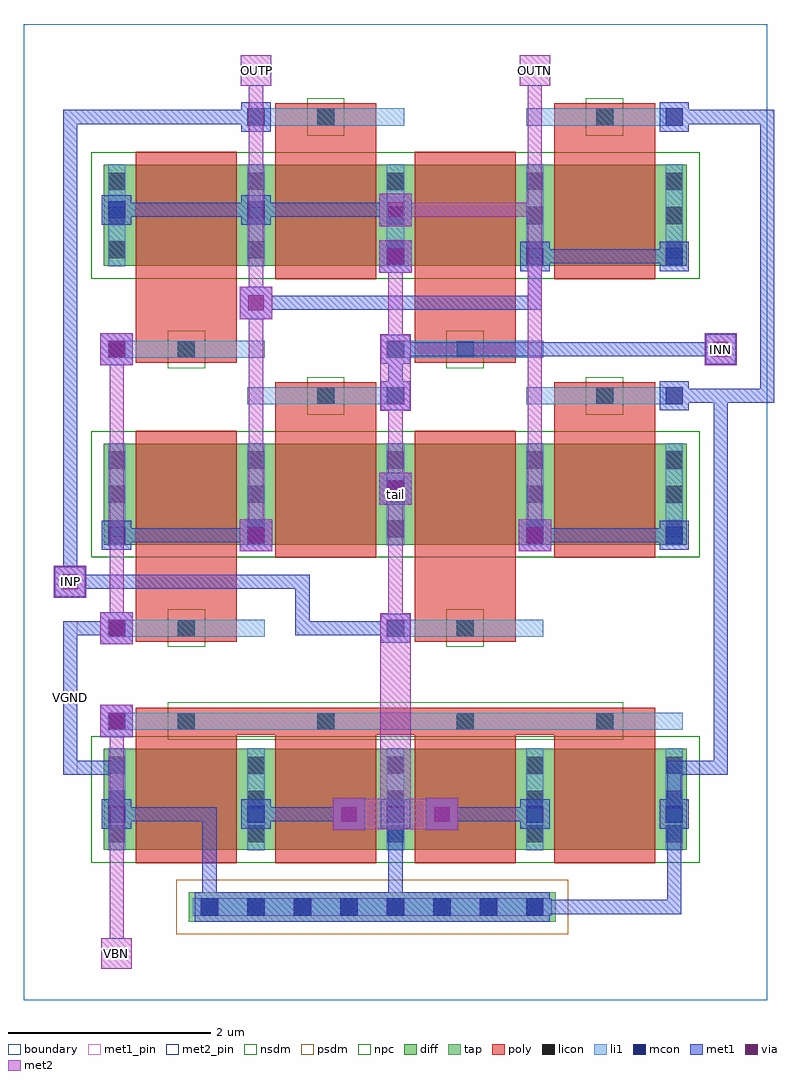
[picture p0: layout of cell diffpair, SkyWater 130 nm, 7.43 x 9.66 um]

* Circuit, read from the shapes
.subckt diffpair INN INP OUTN OUTP VBN VGND tail
XM1 tail VBN VGND VGND sky130_fd_pr__nfet_01v8 w=1 l=1 m=4
XM2 OUTP VGND OUTP VGND sky130_fd_pr__nfet_01v8 w=1 l=1 m=2
XM3 OUTN VGND OUTN VGND sky130_fd_pr__nfet_01v8 w=1 l=1 m=2
XM4 tail INN OUTP VGND sky130_fd_pr__nfet_01v8 w=1 l=1 m=2
XM5 tail INP OUTN VGND sky130_fd_pr__nfet_01v8 w=1 l=1 m=2
.ends

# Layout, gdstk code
import gdstk
lib = gdstk.Library(unit=1e-6, precision=1e-09)
def R(c, l, rs):  # rectangles x0, y0, x1, y1
    for r in rs: c.add(gdstk.rectangle(r[:2], r[2:], *l))
def A(c, l, x, y, w, h, nx, ny, dx, dy):  # array of equal rectangles
    R(c, l, [(x+i*dx, y+j*dy, x+i*dx+w, y+j*dy+h) for i in range(nx) for j in range(ny)])
diff = (65, 20)
tap = (65, 44)
poly = (66, 20)
licon = (66, 44)
li1 = (67, 20)
mcon = (67, 44)
met1_pin = (68, 16)
met1 = (68, 20)
via = (68, 44)
met2_pin = (69, 16)
met2 = (69, 20)
nsdm = (93, 44)
psdm = (94, 20)
npc = (95, 20)
boundary = (235, 4)

diffpair = lib.new_cell('diffpair')
R(diffpair, diff, [(0.795,1.485,6.565,2.485), (0.795,4.505,6.565,5.505), (0.795,7.265,6.565,8.265)])
R(diffpair, tap, [(1.635,0.775,5.265,1.065)])
A(diffpair, poly, 1.11, 1.355, 1, 1.405, 4, 1, 1.38, 0)
R(diffpair, poly, [(1.11,2.625,6.25,2.895), (1.11,3.545,2.11,3.815), (3.87,3.545,4.87,3.815), (1.11,3.68,2.11,5.635), (3.87,3.68,4.87,5.635), (2.49,4.375,3.49,5.98), (5.25,4.375,6.25,5.98), (2.49,5.845,3.49,6.115), (5.25,5.845,6.25,6.115), (1.11,6.305,2.11,6.575), (3.87,6.305,4.87,6.575), (1.11,6.44,2.11,8.395), (3.87,6.44,4.87,8.395), (2.49,7.135,3.49,8.74), (5.25,7.135,6.25,8.74), (2.49,8.605,3.49,8.875), (5.25,8.605,6.25,8.875)])
A(diffpair, licon, 1.755, 0.835, 0.17, 0.17, 8, 1, 0.46, 0)
A(diffpair, licon, 0.835, 1.56, 0.17, 0.17, 5, 3, 1.38, 0.34)
A(diffpair, licon, 1.525, 2.675, 0.17, 0.17, 4, 1, 1.38, 0)
A(diffpair, licon, 0.835, 4.58, 0.17, 0.17, 5, 3, 1.38, 0.34)
A(diffpair, licon, 0.835, 7.34, 0.17, 0.17, 5, 3, 1.38, 0.34)
R(diffpair, licon, [(1.525,3.595,1.695,3.765), (4.285,3.595,4.455,3.765), (2.905,5.895,3.075,6.065), (5.665,5.895,5.835,6.065), (1.525,6.355,1.695,6.525), (4.285,6.355,4.455,6.525), (2.905,8.655,3.075,8.825), (5.665,8.655,5.835,8.825)])
A(diffpair, li1, 0.835, 1.48, 0.17, 1.01, 5, 2, 1.38, 3.02)
A(diffpair, li1, 0.835, 7.26, 0.17, 1.01, 5, 1, 1.38, 0)
R(diffpair, li1, [(1.675,0.835,5.225,1.005), (0.835,2.675,6.525,2.845), (0.835,3.595,2.385,3.765), (3.595,3.595,5.145,3.765), (2.215,5.895,3.765,6.065), (4.975,5.895,6.525,6.065), (0.835,6.355,2.385,6.525), (3.595,6.355,5.145,6.525), (2.215,8.655,3.765,8.825), (4.975,8.655,6.525,8.825)])
A(diffpair, mcon, 1.755, 0.835, 0.17, 0.17, 8, 1, 0.46, 0)
A(diffpair, mcon, 0.835, 1.755, 0.17, 0.17, 5, 1, 1.38, 0)
A(diffpair, mcon, 0.835, 2.675, 0.17, 0.17, 1, 3, 0, 0.92)
A(diffpair, mcon, 3.595, 7.275, 0.17, 0.17, 3, 1, 1.38, 0)
R(diffpair, mcon, [(3.595,3.595,3.765,3.765), (2.215,4.515,2.385,4.685), (4.975,4.515,5.145,4.685), (6.355,4.515,6.525,4.685), (3.595,4.975,3.765,5.145), (3.595,5.895,3.765,6.065), (6.355,5.895,6.525,6.065), (0.835,6.355,1.005,6.525), (3.595,6.355,3.765,6.525), (0.835,7.735,1.005,7.905), (2.215,7.735,2.385,7.905), (2.215,8.655,2.385,8.825), (6.355,8.655,6.525,8.825)])
R(diffpair, met1_pin, [(0.39,2.23,0.53,3.75)])
A(diffpair, met1, 0.775, 1.695, 0.29, 0.29, 5, 1, 1.38, 0)
A(diffpair, met1, 0.775, 2.615, 0.29, 0.29, 1, 3, 0, 0.92)
A(diffpair, met1, 3.535, 7.215, 0.29, 0.29, 3, 1, 1.38, 0)
R(diffpair, met1, [(1.695,0.775,5.205,1.065), (1.77,0.85,3.75,0.99), (1.77,0.85,1.91,0.99), (1.77,0.85,1.91,1.91), (3.61,0.85,6.51,0.99), (3.61,0.85,3.75,1.91), (6.37,0.85,6.51,1.91), (3.06,1.68,3.38,2), (3.98,1.68,4.3,2), (0.85,1.77,1.91,1.91), (0.85,1.77,0.99,2.37), (2.23,1.77,3.29,1.91), (4.07,1.77,5.13,1.91), (6.37,1.77,6.51,2.37), (0.39,2.23,0.99,2.37), (0.39,2.23,0.53,3.75), (6.37,2.23,6.97,2.37), (6.83,2.23,6.97,6.05), (0.76,2.6,1.08,2.92), (0.76,3.52,1.08,3.84), (3.535,3.535,3.825,3.825), (0.39,3.61,0.99,3.75), (2.69,3.61,3.75,3.75), (2.69,3.61,2.83,4.21), (0.3,3.98,0.62,4.3), (0.39,4.07,2.83,4.21), (0.39,4.07,0.53,8.81), (2.14,4.44,2.46,4.76), (4.9,4.44,5.22,4.76), (2.155,4.455,2.445,4.745), (4.915,4.455,5.205,4.745), (6.295,4.455,6.585,4.745), (0.85,4.53,2.37,4.67), (4.99,4.53,6.51,4.67), (3.52,4.9,3.84,5.22), (3.535,4.915,3.825,5.205), (3.535,5.835,3.825,6.125), (6.295,5.835,6.585,6.125), (3.61,5.91,3.75,6.51), (6.37,5.91,6.97,6.05), (6.83,5.91,7.43,6.05), (7.29,5.91,7.43,8.81), (0.76,6.28,1.08,6.6), (6.74,6.28,7.06,6.6), (0.775,6.295,1.065,6.585), (3.535,6.295,3.825,6.585), (3.61,6.37,6.97,6.51), (2.14,6.74,2.46,7.06), (2.23,6.83,5.13,6.97), (4.99,6.83,5.13,7.43), (3.52,7.2,3.84,7.52), (4.99,7.29,6.51,7.43), (3.52,7.66,3.84,7.98), (0.775,7.675,1.065,7.965), (2.155,7.675,2.445,7.965), (0.85,7.75,2.37,7.89), (2.23,7.75,3.75,7.89), (2.155,8.595,2.445,8.885), (6.295,8.595,6.585,8.885), (0.39,8.67,2.37,8.81), (6.37,8.67,7.43,8.81)])
R(diffpair, via, [(3.145,1.765,3.295,1.915), (4.065,1.765,4.215,1.915), (0.845,2.685,0.995,2.835), (0.845,3.605,0.995,3.755), (0.385,4.065,0.535,4.215), (2.225,4.525,2.375,4.675), (4.985,4.525,5.135,4.675), (3.605,4.985,3.755,5.135), (0.845,6.365,0.995,6.515), (6.825,6.365,6.975,6.515), (2.225,6.825,2.375,6.975), (3.605,7.285,3.755,7.435), (3.605,7.745,3.755,7.895)])
R(diffpair, met2_pin, [(0.77,0.31,1.07,0.61), (0.31,3.99,0.61,4.29), (6.75,6.29,7.05,6.59), (2.15,9.05,2.45,9.35), (4.91,9.05,5.21,9.35)])
R(diffpair, met2, [(0.77,0.31,1.07,0.61), (0.85,0.39,0.99,0.53), (0.85,0.39,0.99,2.83), (3.06,1.68,3.38,2), (3.98,1.68,4.3,2), (3.07,1.69,3.83,1.99), (3.53,1.69,3.83,3.83), (3.53,1.69,4.29,1.99), (0.76,2.6,1.08,2.92), (0.76,3.52,1.08,3.84), (0.85,3.61,0.99,6.51), (3.61,3.61,3.75,5.13), (0.3,3.98,0.62,4.3), (0.31,3.99,0.61,4.29), (0.39,4.07,0.53,4.21), (2.14,4.44,2.46,4.76), (4.9,4.44,5.22,4.76), (2.23,4.53,2.37,9.27), (4.99,4.53,5.13,9.27), (3.52,4.9,3.84,5.22), (3.61,4.99,3.75,6.05), (3.53,5.83,3.83,6.59), (0.76,6.28,1.08,6.6), (6.74,6.28,7.06,6.6), (6.75,6.29,7.05,6.59), (3.61,6.37,3.75,7.43), (6.83,6.37,6.97,6.51), (2.14,6.74,2.46,7.06), (3.52,7.2,3.84,7.52), (3.52,7.66,3.84,7.98), (3.61,7.75,5.13,7.89), (2.15,9.05,2.45,9.35), (4.91,9.05,5.21,9.35), (2.23,9.13,2.37,9.27), (4.99,9.13,5.13,9.27)])
R(diffpair, nsdm, [(0.67,1.36,6.69,2.61), (0.67,4.38,6.69,5.63), (0.67,7.14,6.69,8.39)])
R(diffpair, psdm, [(1.51,0.65,5.39,1.19)])
R(diffpair, npc, [(1.425,2.575,5.935,2.945), (1.425,3.495,1.795,3.865), (4.185,3.495,4.555,3.865), (2.805,5.795,3.175,6.165), (5.565,5.795,5.935,6.165), (1.425,6.255,1.795,6.625), (4.185,6.255,4.555,6.625), (2.805,8.555,3.175,8.925), (5.565,8.555,5.935,8.925)])
R(diffpair, boundary, [(0,0,7.36,9.66)])
diffpair.add(gdstk.Label('tail', (3.68,5.005), layer=67, texttype=5))
diffpair.add(gdstk.Label('VGND', (0.46,2.99), layer=68, texttype=5))
diffpair.add(gdstk.Label('INP', (0.46,4.14), layer=69, texttype=5))
diffpair.add(gdstk.Label('INN', (6.9,6.44), layer=69, texttype=5))
diffpair.add(gdstk.Label('VBN', (0.92,0.46), layer=69, texttype=5))
diffpair.add(gdstk.Label('OUTP', (2.3,9.2), layer=69, texttype=5))
diffpair.add(gdstk.Label('OUTN', (5.06,9.2), layer=69, texttype=5))
diffpair.add(gdstk.Label('VGND', (0.46,2.99), layer=68, texttype=16))
diffpair.add(gdstk.Label('INP', (0.46,4.14), layer=69, texttype=16))
diffpair.add(gdstk.Label('INN', (6.9,6.44), layer=69, texttype=16))
diffpair.add(gdstk.Label('VBN', (0.92,0.46), layer=69, texttype=16))
diffpair.add(gdstk.Label('OUTP', (2.3,9.2), layer=69, texttype=16))
diffpair.add(gdstk.Label('OUTN', (5.06,9.2), layer=69, texttype=16))

lib.write_gds('diffpair.gds')
